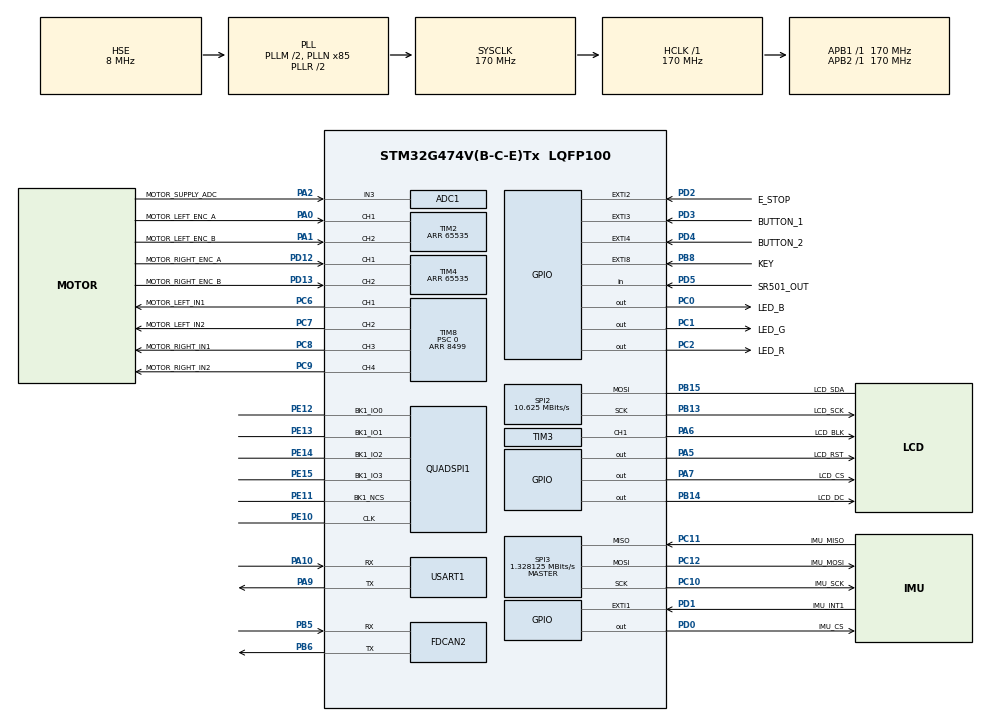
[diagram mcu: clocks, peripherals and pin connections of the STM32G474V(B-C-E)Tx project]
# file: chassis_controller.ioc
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ADC1.Channel-0\#ChannelRegularConversion=ADC_CHANNEL_3
ADC1.Channel-IN3=ADC_CHANNEL_3
ADC1.ClockPrescaler=ADC_CLOCK_SYNC_PCLK_DIV4
ADC1.ContinuousConvMode=DISABLE
ADC1.DMAContinuousRequests=DISABLE
ADC1.DataAlign=ADC_DATAALIGN_RIGHT
ADC1.DiscontinuousConvMode=DISABLE
ADC1.EOCSelection=ADC_EOC_SINGLE_CONV
ADC1.EnableAnalogWatchDog1=false
ADC1.EnableAnalogWatchDog2=false
ADC1.EnableAnalogWatchDog3=false
ADC1.EnableInjectedConversion=DISABLE
ADC1.EnableRegularConversion=ENABLE
ADC1.ExternalTrigConv=ADC_SOFTWARE_START
ADC1.ExternalTrigConvEdge=ADC_EXTERNALTRIGCONVEDGE_NONE
ADC1.GainCompensation=0
ADC1.LowPowerAutoWait=DISABLE
ADC1.Mode=ADC_MODE_INDEPENDENT
ADC1.NbrOfConversion=1
ADC1.OffsetNumber-0\#ChannelRegularConversion=ADC_OFFSET_NONE
ADC1.Overrun=ADC_OVR_DATA_PRESERVED
ADC1.OversamplingMode=DISABLE
ADC1.Rank-0\#ChannelRegularConversion=1
ADC1.Resolution=ADC_RESOLUTION_12B
ADC1.SamplingTime-0\#ChannelRegularConversion=ADC_SAMPLETIME_47CYCLES_5
ADC1.ScanConvMode=ADC_SCAN_DISABLE
ADC1.master=1
Dma.QUADSPI.3.Direction=DMA_PERIPH_TO_MEMORY
Dma.QUADSPI.3.EventEnable=DISABLE
Dma.QUADSPI.3.Instance=DMA1_Channel4
Dma.QUADSPI.3.MemDataAlignment=DMA_MDATAALIGN_BYTE
Dma.QUADSPI.3.MemInc=DMA_MINC_ENABLE
Dma.QUADSPI.3.Mode=DMA_NORMAL
Dma.QUADSPI.3.PeriphDataAlignment=DMA_PDATAALIGN_BYTE
Dma.QUADSPI.3.PeriphInc=DMA_PINC_DISABLE
Dma.QUADSPI.3.Polarity=HAL_DMAMUX_REQ_GEN_RISING
Dma.QUADSPI.3.Priority=DMA_PRIORITY_MEDIUM
Dma.QUADSPI.3.RequestNumber=1
Dma.QUADSPI.3.SignalID=NONE
Dma.QUADSPI.3.SyncEnable=DISABLE
Dma.QUADSPI.3.SyncPolarity=HAL_DMAMUX_SYNC_NO_EVENT
Dma.QUADSPI.3.SyncRequestNumber=1
Dma.QUADSPI.3.SyncSignalID=NONE
Dma.Request0=USART1_RX
Dma.Request1=USART1_TX
Dma.Request2=SPI2_TX
Dma.Request3=QUADSPI
Dma.Request4=SPI3_RX
Dma.Request5=SPI3_TX
Dma.SPI2_TX.2.Direction=DMA_MEMORY_TO_PERIPH
Dma.SPI2_TX.2.EventEnable=DISABLE
Dma.SPI2_TX.2.Instance=DMA1_Channel3
Dma.SPI2_TX.2.MemDataAlignment=DMA_MDATAALIGN_BYTE
Dma.SPI2_TX.2.MemInc=DMA_MINC_ENABLE
Dma.SPI2_TX.2.Mode=DMA_NORMAL
Dma.SPI2_TX.2.PeriphDataAlignment=DMA_PDATAALIGN_BYTE
Dma.SPI2_TX.2.PeriphInc=DMA_PINC_DISABLE
Dma.SPI2_TX.2.Polarity=HAL_DMAMUX_REQ_GEN_RISING
Dma.SPI2_TX.2.Priority=DMA_PRIORITY_LOW
Dma.SPI2_TX.2.RequestNumber=1
Dma.SPI2_TX.2.SignalID=NONE
Dma.SPI2_TX.2.SyncEnable=DISABLE
Dma.SPI2_TX.2.SyncPolarity=HAL_DMAMUX_SYNC_NO_EVENT
Dma.SPI2_TX.2.SyncRequestNumber=1
Dma.SPI2_TX.2.SyncSignalID=NONE
Dma.SPI3_RX.4.Direction=DMA_PERIPH_TO_MEMORY
Dma.SPI3_RX.4.EventEnable=DISABLE
Dma.SPI3_RX.4.Instance=DMA1_Channel5
Dma.SPI3_RX.4.MemDataAlignment=DMA_MDATAALIGN_BYTE
Dma.SPI3_RX.4.MemInc=DMA_MINC_ENABLE
Dma.SPI3_RX.4.Mode=DMA_NORMAL
Dma.SPI3_RX.4.PeriphDataAlignment=DMA_PDATAALIGN_BYTE
Dma.SPI3_RX.4.PeriphInc=DMA_PINC_DISABLE
Dma.SPI3_RX.4.Polarity=HAL_DMAMUX_REQ_GEN_RISING
Dma.SPI3_RX.4.Priority=DMA_PRIORITY_HIGH
Dma.SPI3_RX.4.RequestNumber=1
Dma.SPI3_RX.4.SignalID=NONE
Dma.SPI3_RX.4.SyncEnable=DISABLE
Dma.SPI3_RX.4.SyncPolarity=HAL_DMAMUX_SYNC_NO_EVENT
Dma.SPI3_RX.4.SyncRequestNumber=1
Dma.SPI3_RX.4.SyncSignalID=NONE
Dma.SPI3_TX.5.Direction=DMA_MEMORY_TO_PERIPH
Dma.SPI3_TX.5.EventEnable=DISABLE
Dma.SPI3_TX.5.Instance=DMA1_Channel6
Dma.SPI3_TX.5.MemDataAlignment=DMA_MDATAALIGN_BYTE
Dma.SPI3_TX.5.MemInc=DMA_MINC_ENABLE
Dma.SPI3_TX.5.Mode=DMA_NORMAL
Dma.SPI3_TX.5.PeriphDataAlignment=DMA_PDATAALIGN_BYTE
Dma.SPI3_TX.5.PeriphInc=DMA_PINC_DISABLE
Dma.SPI3_TX.5.Polarity=HAL_DMAMUX_REQ_GEN_RISING
Dma.SPI3_TX.5.Priority=DMA_PRIORITY_HIGH
Dma.SPI3_TX.5.RequestNumber=1
Dma.SPI3_TX.5.SignalID=NONE
Dma.SPI3_TX.5.SyncEnable=DISABLE
Dma.SPI3_TX.5.SyncPolarity=HAL_DMAMUX_SYNC_NO_EVENT
Dma.SPI3_TX.5.SyncRequestNumber=1
Dma.SPI3_TX.5.SyncSignalID=NONE
Dma.USART1_RX.0.Direction=DMA_PERIPH_TO_MEMORY
Dma.USART1_RX.0.EventEnable=DISABLE
Dma.USART1_RX.0.Instance=DMA1_Channel1
Dma.USART1_RX.0.MemDataAlignment=DMA_MDATAALIGN_BYTE
Dma.USART1_RX.0.MemInc=DMA_MINC_ENABLE
Dma.USART1_RX.0.Mode=DMA_CIRCULAR
Dma.USART1_RX.0.PeriphDataAlignment=DMA_PDATAALIGN_BYTE
Dma.USART1_RX.0.PeriphInc=DMA_PINC_DISABLE
Dma.USART1_RX.0.Polarity=HAL_DMAMUX_REQ_GEN_RISING
Dma.USART1_RX.0.Priority=DMA_PRIORITY_HIGH
Dma.USART1_RX.0.RequestNumber=1
Dma.USART1_RX.0.SignalID=NONE
Dma.USART1_RX.0.SyncEnable=DISABLE
Dma.USART1_RX.0.SyncPolarity=HAL_DMAMUX_SYNC_NO_EVENT
Dma.USART1_RX.0.SyncRequestNumber=1
Dma.USART1_RX.0.SyncSignalID=NONE
Dma.USART1_TX.1.Direction=DMA_MEMORY_TO_PERIPH
Dma.USART1_TX.1.EventEnable=DISABLE
Dma.USART1_TX.1.Instance=DMA1_Channel2
Dma.USART1_TX.1.MemDataAlignment=DMA_MDATAALIGN_BYTE
Dma.USART1_TX.1.MemInc=DMA_MINC_ENABLE
Dma.USART1_TX.1.Mode=DMA_NORMAL
Dma.USART1_TX.1.PeriphDataAlignment=DMA_PDATAALIGN_BYTE
Dma.USART1_TX.1.PeriphInc=DMA_PINC_DISABLE
Dma.USART1_TX.1.Polarity=HAL_DMAMUX_REQ_GEN_RISING
Dma.USART1_TX.1.Priority=DMA_PRIORITY_MEDIUM
Dma.USART1_TX.1.RequestNumber=1
Dma.USART1_TX.1.SignalID=NONE
Dma.USART1_TX.1.SyncEnable=DISABLE
Dma.USART1_TX.1.SyncPolarity=HAL_DMAMUX_SYNC_NO_EVENT
Dma.USART1_TX.1.SyncRequestNumber=1
Dma.USART1_TX.1.SyncSignalID=NONE
FDCAN2.CalculateBaudRateNominal=500000
FDCAN2.CalculateTimeBitNominal=2000
FDCAN2.CalculateTimeQuantumNominal=100.0
FDCAN2.DataPrescaler=5
FDCAN2.DataSyncJumpWidth=3
FDCAN2.DataTimeSeg1=13
FDCAN2.DataTimeSeg2=3
FDCAN2.ExtFiltersNbr=0
FDCAN2.FrameFormat=FDCAN_FRAME_FD_BRS
FDCAN2.Mode=FDCAN_MODE_NORMAL
FDCAN2.NominalPrescaler=17
FDCAN2.NominalSyncJumpWidth=4
FDCAN2.NominalTimeSeg1=15
FDCAN2.NominalTimeSeg2=4
FDCAN2.StdFiltersNbr=3
FREERTOS.Tasks01=defaultTask,24,1024,StartDefaultTask,Default,NULL,Static,defaultTaskBuffer,defaultTaskControlBlock
FREERTOS.configCHECK_FOR_STACK_OVERFLOW=2
FREERTOS.configMINIMAL_STACK_SIZE=128
FREERTOS.configUSE_MALLOC_FAILED_HOOK=1
FREERTOS.configUSE_NEWLIB_REENTRANT=1
IWDG.Prescaler=IWDG_PRESCALER_128
IWDG.Reload=2499
IWDG.Window=4095
Mcu.Family=STM32G4
Mcu.Name=STM32G474V(B-C-E)Tx
Mcu.Package=LQFP100
NVIC.DMA1_Channel1_IRQn=true\:5\:0\:false\:false\:true\:true\:true\:true\:true
NVIC.DMA1_Channel2_IRQn=true\:5\:0\:false\:false\:true\:true\:true\:true\:true
NVIC.DMA1_Channel3_IRQn=true\:5\:0\:false\:false\:true\:true\:true\:true\:true
NVIC.DMA1_Channel4_IRQn=true\:5\:0\:false\:false\:true\:true\:true\:true\:true
NVIC.DMA1_Channel5_IRQn=true\:5\:0\:false\:false\:true\:true\:true\:true\:true
NVIC.DMA1_Channel6_IRQn=true\:5\:0\:false\:false\:true\:true\:true\:true\:true
NVIC.EXTI1_IRQn=true\:5\:0\:false\:false\:true\:true\:true\:true\:true
NVIC.EXTI2_IRQn=true\:5\:0\:false\:false\:true\:true\:true\:true\:true
NVIC.EXTI3_IRQn=true\:5\:0\:false\:false\:true\:true\:true\:true\:true
NVIC.EXTI4_IRQn=true\:5\:0\:false\:false\:true\:true\:true\:true\:true
NVIC.EXTI9_5_IRQn=true\:5\:0\:false\:false\:true\:true\:true\:true\:true
NVIC.FDCAN2_IT0_IRQn=true\:5\:0\:false\:false\:true\:true\:true\:true\:true
NVIC.PriorityGroup=NVIC_PRIORITYGROUP_4
NVIC.QUADSPI_IRQn=true\:5\:0\:false\:false\:true\:true\:true\:true\:true
NVIC.TIM6_DAC_IRQn=true\:5\:0\:false\:false\:true\:true\:true\:true\:true
NVIC.TIM7_DAC_IRQn=true\:15\:0\:false\:false\:true\:false\:false\:true\:true
NVIC.TimeBase=TIM7_DAC_IRQn
NVIC.TimeBaseIP=TIM7
NVIC.USART1_IRQn=true\:5\:0\:false\:false\:true\:true\:true\:true\:true
PA0.GPIO_Label=MOTOR_LEFT_ENC_A
PA0.GPIO_Speed=GPIO_SPEED_FREQ_HIGH
PA0.Signal=S_TIM2_CH1
PA1.GPIO_Label=MOTOR_LEFT_ENC_B
PA1.GPIO_Speed=GPIO_SPEED_FREQ_HIGH
PA1.Signal=S_TIM2_CH2
PA10.Mode=Asynchronous
PA10.Signal=USART1_RX
PA13.Mode=Serial_Wire
PA13.Signal=SYS_JTMS-SWDIO
PA14.Mode=Serial_Wire
PA14.Signal=SYS_JTCK-SWCLK
PA2.GPIO_Label=MOTOR_SUPPLY_ADC
PA2.Mode=IN3-Single-Ended
PA2.Signal=ADC1_IN3
PA5.GPIO_Label=LCD_RST
PA5.PinState=GPIO_PIN_SET
PA5.Signal=GPIO_Output
PA6.GPIO_Label=LCD_BLK
PA6.Signal=S_TIM3_CH1
PA7.GPIO_Label=LCD_CS
PA7.PinState=GPIO_PIN_SET
PA7.Signal=GPIO_Output
PA9.Mode=Asynchronous
PA9.Signal=USART1_TX
PB13.GPIO_Label=LCD_SCK
PB13.GPIO_PuPd=GPIO_PULLUP
PB13.GPIO_Speed=GPIO_SPEED_FREQ_HIGH
PB13.Mode=Simplex_Bidirectional_Master
PB13.Signal=SPI2_SCK
PB14.GPIO_Label=LCD_DC
PB14.PinState=GPIO_PIN_SET
PB14.Signal=GPIO_Output
PB15.GPIO_Label=LCD_SDA
PB15.GPIO_PuPd=GPIO_PULLUP
PB15.GPIO_Speed=GPIO_SPEED_FREQ_HIGH
PB15.Mode=Simplex_Bidirectional_Master
PB15.Signal=SPI2_MOSI
PB5.Mode=FDCAN_Activate
PB5.Signal=FDCAN2_RX
PB6.Mode=FDCAN_Activate
PB6.Signal=FDCAN2_TX
PB8-BOOT0.GPIO_Label=KEY
PB8-BOOT0.Signal=GPXTI8
PC0.GPIO_Label=LED_B
PC0.PinState=GPIO_PIN_SET
PC0.Signal=GPIO_Output
PC1.GPIO_Label=LED_G
PC1.PinState=GPIO_PIN_SET
PC1.Signal=GPIO_Output
PC10.GPIO_Label=IMU_SCK
PC10.GPIO_PuPd=GPIO_NOPULL
PC10.GPIO_Speed=GPIO_SPEED_FREQ_HIGH
PC10.Mode=Full_Duplex_Master
PC10.Signal=SPI3_SCK
PC11.GPIO_Label=IMU_MISO
PC11.GPIO_PuPd=GPIO_NOPULL
PC11.GPIO_Speed=GPIO_SPEED_FREQ_HIGH
PC11.Mode=Full_Duplex_Master
PC11.Signal=SPI3_MISO
PC12.GPIO_Label=IMU_MOSI
PC12.GPIO_PuPd=GPIO_NOPULL
PC12.GPIO_Speed=GPIO_SPEED_FREQ_HIGH
PC12.Mode=Full_Duplex_Master
PC12.Signal=SPI3_MOSI
PC14-OSC32_IN.Mode=LSE-External-Oscillator
PC14-OSC32_IN.Signal=RCC_OSC32_IN
PC15-OSC32_OUT.Mode=LSE-External-Oscillator
PC15-OSC32_OUT.Signal=RCC_OSC32_OUT
PC2.GPIO_Label=LED_R
PC2.PinState=GPIO_PIN_SET
PC2.Signal=GPIO_Output
PC6.GPIO_Label=MOTOR_LEFT_IN1
PC6.GPIO_PuPd=GPIO_PULLDOWN
PC6.GPIO_Speed=GPIO_SPEED_FREQ_HIGH
PC6.Signal=S_TIM8_CH1
PC7.GPIO_Label=MOTOR_LEFT_IN2
PC7.GPIO_PuPd=GPIO_PULLDOWN
PC7.GPIO_Speed=GPIO_SPEED_FREQ_HIGH
PC7.Signal=S_TIM8_CH2
PC8.GPIO_Label=MOTOR_RIGHT_IN1
PC8.GPIO_PuPd=GPIO_PULLDOWN
PC8.GPIO_Speed=GPIO_SPEED_FREQ_HIGH
PC8.Signal=S_TIM8_CH3
PC9.GPIO_Label=MOTOR_RIGHT_IN2
PC9.GPIO_PuPd=GPIO_PULLDOWN
PC9.GPIO_Speed=GPIO_SPEED_FREQ_HIGH
PC9.Signal=S_TIM8_CH4
PD0.GPIO_Label=IMU_CS
PD0.PinState=GPIO_PIN_SET
PD0.Signal=GPIO_Output
PD1.GPIO_Label=IMU_INT1
PD1.GPIO_ModeDefaultEXTI=GPIO_MODE_IT_RISING
PD1.GPIO_PuPd=GPIO_NOPULL
PD1.Signal=GPXTI1
PD12.GPIO_Label=MOTOR_RIGHT_ENC_A
PD12.GPIO_Speed=GPIO_SPEED_FREQ_HIGH
PD12.Signal=S_TIM4_CH1
PD13.GPIO_Label=MOTOR_RIGHT_ENC_B
PD13.GPIO_Speed=GPIO_SPEED_FREQ_HIGH
PD13.Signal=S_TIM4_CH2
PD2.GPIO_Label=E_STOP
PD2.GPIO_ModeDefaultEXTI=GPIO_MODE_IT_FALLING
PD2.GPIO_PuPd=GPIO_PULLUP
PD2.Signal=GPXTI2
PD3.GPIO_Label=BUTTON_1
PD3.GPIO_ModeDefaultEXTI=GPIO_MODE_IT_FALLING
PD3.GPIO_PuPd=GPIO_PULLUP
PD3.Signal=GPXTI3
PD4.GPIO_Label=BUTTON_2
PD4.GPIO_ModeDefaultEXTI=GPIO_MODE_IT_FALLING
PD4.GPIO_PuPd=GPIO_PULLUP
PD4.Signal=GPXTI4
PD5.GPIO_Label=SR501_OUT
PD5.GPIO_PuPd=GPIO_PULLDOWN
PD5.Signal=GPIO_Input
PE10.GPIO_PuPd=GPIO_NOPULL
PE10.GPIO_Speed=GPIO_SPEED_FREQ_VERY_HIGH
PE10.Mode=Single Bank 1
PE10.Signal=QUADSPI1_CLK
PE11.GPIO_PuPd=GPIO_NOPULL
PE11.GPIO_Speed=GPIO_SPEED_FREQ_VERY_HIGH
PE11.Mode=Single Bank 1
PE11.Signal=QUADSPI1_BK1_NCS
PE12.GPIO_PuPd=GPIO_NOPULL
PE12.GPIO_Speed=GPIO_SPEED_FREQ_VERY_HIGH
PE12.Mode=Single Bank 1
PE12.Signal=QUADSPI1_BK1_IO0
PE13.GPIO_PuPd=GPIO_NOPULL
PE13.GPIO_Speed=GPIO_SPEED_FREQ_VERY_HIGH
PE13.Mode=Single Bank 1
PE13.Signal=QUADSPI1_BK1_IO1
PE14.GPIO_PuPd=GPIO_NOPULL
PE14.GPIO_Speed=GPIO_SPEED_FREQ_VERY_HIGH
PE14.Mode=Single Bank 1
PE14.Signal=QUADSPI1_BK1_IO2
PE15.GPIO_PuPd=GPIO_NOPULL
PE15.GPIO_Speed=GPIO_SPEED_FREQ_VERY_HIGH
PE15.Mode=Single Bank 1
PE15.Signal=QUADSPI1_BK1_IO3
PF0-OSC_IN.Mode=HSE-External-Oscillator
PF0-OSC_IN.Signal=RCC_OSC_IN
PF1-OSC_OUT.Mode=HSE-External-Oscillator
PF1-OSC_OUT.Signal=RCC_OSC_OUT
ProjectManager.HeapSize=0x200
ProjectManager.StackSize=0x400
ProjectManager.TargetToolchain=STM32CubeIDE
QUADSPI1.ChipSelectHighTime=QSPI_CS_HIGH_TIME_3_CYCLE
QUADSPI1.ClockMode=QSPI_CLOCK_MODE_0
QUADSPI1.ClockPrescaler=1
QUADSPI1.DualFlash=QSPI_DUALFLASH_DISABLE
QUADSPI1.FifoThreshold=4
QUADSPI1.FlashID=QSPI_FLASH_ID_1
QUADSPI1.FlashSize=22
QUADSPI1.SampleShifting=QSPI_SAMPLE_SHIFTING_NONE
RCC.ADC12Freq_Value=170000000
RCC.ADC345Freq_Value=170000000
RCC.AHBFreq_Value=170000000
RCC.APB1Freq_Value=170000000
RCC.APB1TimFreq_Value=170000000
RCC.APB2Freq_Value=170000000
RCC.APB2TimFreq_Value=170000000
RCC.CortexFreq_Value=170000000
RCC.EXTERNAL_CLOCK_VALUE=12288000
RCC.HCLKFreq_Value=170000000
RCC.HSE_VALUE=8000000
RCC.HSI48_VALUE=48000000
RCC.HSI_VALUE=16000000
RCC.PLLM=RCC_PLLM_DIV2
RCC.PLLN=85
RCC.PLLSourceVirtual=RCC_PLLSOURCE_HSE
RCC.RTCClockSelection=RCC_RTCCLKSOURCE_LSE
RCC.SYSCLKFreq_VALUE=170000000
RCC.SYSCLKSource=RCC_SYSCLKSOURCE_PLLCLK
RCC.USBFreq_Value=170000000
RCC.VCOOutputFreq_Value=340000000
RTC.AsynchPrediv=127
RTC.Date=1
RTC.DayLightSaving=RTC_DAYLIGHTSAVING_NONE
RTC.Format=RTC_FORMAT_BIN
RTC.HourFormat=RTC_HOURFORMAT_24
RTC.Hours=0
RTC.Minutes=0
RTC.Month=RTC_MONTH_JANUARY
RTC.Seconds=0
RTC.StoreOperation=RTC_STOREOPERATION_RESET
RTC.SynchPrediv=255
RTC.WeekDay=RTC_WEEKDAY_THURSDAY
RTC.Year=26
SH.S_TIM2_CH1.0=TIM2_CH1,Encoder_Interface
SH.S_TIM2_CH2.0=TIM2_CH2,Encoder_Interface
SH.S_TIM3_CH1.0=TIM3_CH1,PWM Generation1 CH1
SH.S_TIM4_CH1.0=TIM4_CH1,Encoder_Interface
SH.S_TIM4_CH2.0=TIM4_CH2,Encoder_Interface
SH.S_TIM8_CH1.0=TIM8_CH1,PWM Generation1 CH1
SH.S_TIM8_CH2.0=TIM8_CH2,PWM Generation2 CH2
SH.S_TIM8_CH3.0=TIM8_CH3,PWM Generation3 CH3
SH.S_TIM8_CH4.0=TIM8_CH4,PWM Generation4 CH4
SPI2.BaudRatePrescaler=SPI_BAUDRATEPRESCALER_16
SPI2.CLKPhase=SPI_PHASE_2EDGE
SPI2.CLKPolarity=SPI_POLARITY_HIGH
SPI2.CRCCalculation=SPI_CRCCALCULATION_DISABLE
SPI2.CalculateBaudRate=10.625 MBits/s
SPI2.DataSize=SPI_DATASIZE_8BIT
SPI2.Direction=SPI_DIRECTION_1LINE
SPI2.FirstBit=SPI_FIRSTBIT_MSB
SPI2.Mode=SPI_MODE_MASTER
SPI2.NSS=SPI_NSS_SOFT
SPI2.TIMode=SPI_TIMODE_DISABLE
SPI2.VirtualType=VM_MASTER
SPI3.BaudRatePrescaler=SPI_BAUDRATEPRESCALER_128
SPI3.CLKPhase=SPI_PHASE_1EDGE
SPI3.CLKPolarity=SPI_POLARITY_LOW
SPI3.CRCCalculation=SPI_CRCCALCULATION_DISABLE
SPI3.CalculateBaudRate=1.328125 MBits/s
SPI3.DataSize=SPI_DATASIZE_8BIT
SPI3.Direction=SPI_DIRECTION_2LINES
SPI3.FirstBit=SPI_FIRSTBIT_MSB
SPI3.Mode=SPI_MODE_MASTER
SPI3.NSS=SPI_NSS_SOFT
SPI3.TIMode=SPI_TIMODE_DISABLE
SPI3.VirtualType=VM_MASTER
TIM2.EncoderMode=TIM_ENCODERMODE_TI12
TIM2.IC1Filter=8
TIM2.IC1Polarity=TIM_ICPOLARITY_RISING
TIM2.IC2Filter=8
TIM2.IC2Polarity=TIM_ICPOLARITY_RISING
TIM2.PeriodNoDither=65535
TIM3.Channel-PWM\ Generation1\ CH1=TIM_CHANNEL_1
TIM3.PeriodNoDither=49
TIM3.Prescaler=169
TIM4.EncoderMode=TIM_ENCODERMODE_TI12
TIM4.IC1Filter=8
TIM4.IC1Polarity=TIM_ICPOLARITY_RISING
TIM4.IC2Filter=8
TIM4.IC2Polarity=TIM_ICPOLARITY_RISING
TIM4.PeriodNoDither=65535
TIM6.AutoReloadPreload=TIM_AUTORELOAD_PRELOAD_DISABLE
TIM6.CounterMode=TIM_COUNTERMODE_UP
TIM6.Dithering=Disable
TIM6.PeriodNoDither=999
TIM6.Prescaler=169
TIM6.TIM_MasterOutputTrigger=TIM_TRGO_RESET
TIM8.AutoReloadPreload=TIM_AUTORELOAD_PRELOAD_ENABLE
TIM8.Channel-PWM\ Generation1\ CH1=TIM_CHANNEL_1
TIM8.Channel-PWM\ Generation2\ CH2=TIM_CHANNEL_2
TIM8.Channel-PWM\ Generation3\ CH3=TIM_CHANNEL_3
TIM8.Channel-PWM\ Generation4\ CH4=TIM_CHANNEL_4
TIM8.PeriodNoDither=8499
TIM8.Prescaler=0
USART1.VirtualMode-Asynchronous=VM_ASYNC
VP_FREERTOS_VS_CMSIS_V2.Mode=CMSIS_V2
VP_IWDG_VS_IWDG.Mode=IWDG_Activate
VP_RTC_VS_RTC_Activate.Mode=RTC_Enabled
VP_RTC_VS_RTC_Calendar.Mode=RTC_Calendar
VP_SYS_VS_DBSignals.Mode=DisableDeadBatterySignals
VP_SYS_VS_tim7.Mode=TIM7
VP_TIM3_VS_ClockSourceINT.Mode=Internal
VP_TIM6_VS_ClockSourceINT.Mode=Enable_Timer
board=custom

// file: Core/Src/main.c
/* USER CODE BEGIN Header */
/**
  ******************************************************************************
  * @file           : main.c
  * @brief          : Main program body
  ******************************************************************************
  * @attention
  *
  * Copyright (c) 2026 STMicroelectronics.
  * All rights reserved.
  *
  * This software is licensed under terms that can be found in the LICENSE file
  * in the root directory of this software component.
  * If no LICENSE file comes with this software, it is provided AS-IS.
  *
  ******************************************************************************
  */
/* USER CODE END Header */
#include "main.h"
#include "cmsis_os.h"
#include "adc.h"
#include "dma.h"
#include "fdcan.h"
#include "iwdg.h"
#include "quadspi.h"
#include "rtc.h"
#include "spi.h"
#include "tim.h"
#include "usart.h"
#include "gpio.h"

/* USER CODE BEGIN Includes */
#include "app/chassis_app.h"
#include "init.h"
#include "kernel/freertos/rtos_app.h"
/* USER CODE END Includes */

void SystemClock_Config(void);
void MX_FREERTOS_Init(void);

int main(void)
{

  /* MCU Configuration--------------------------------------------------------*/

  /* Reset of all peripherals, Initializes the Flash interface and the Systick. */
  HAL_Init();

  /* USER CODE BEGIN Init */
#if defined(APP_DEBUG_IWDG_FREEZE)
  __HAL_DBGMCU_FREEZE_IWDG();
#endif
  /* USER CODE END Init */

  /* Configure the system clock */
  SystemClock_Config();

  /* USER CODE BEGIN SysInit */
  if (SystemInit_RunLevel(INIT_LEVEL_EARLY) < 0)
  {
    Error_Handler();
  }

  /* USER CODE END SysInit */

  /* Initialize all configured peripherals */
  MX_GPIO_Init();
  MX_DMA_Init();
  MX_ADC1_Init();
  MX_USART1_UART_Init();
  MX_FDCAN2_Init();
  MX_QUADSPI1_Init();
  MX_SPI2_Init();
  MX_SPI3_Init();
  MX_RTC_Init();
  MX_TIM3_Init();
  MX_TIM2_Init();
  MX_TIM4_Init();
  MX_TIM8_Init();
  MX_TIM6_Init();
  MX_IWDG_Init();
  /* USER CODE BEGIN 2 */
  if (SystemInit_RunLevel(INIT_LEVEL_PRE_KERNEL_1) < 0 ||
      SystemInit_RunLevel(INIT_LEVEL_PRE_KERNEL_2) < 0)
  {
    Error_Handler();
  }
  if (!AppWatchdog_ConfigureNormal()) {
    Error_Handler();
  }
  /* USER CODE END 2 */

  /* Init scheduler */
  osKernelInitialize();  /* Call init function for freertos objects (in cmsis_os2.c) */
  MX_FREERTOS_Init();

  /* Start scheduler */
  osKernelStart();

  /* We should never get here as control is now taken by the scheduler */

  /* Infinite loop */
  while (1)
  {

  }
}

void SystemClock_Config(void)
{
  RCC_OscInitTypeDef RCC_OscInitStruct = {0};
  RCC_ClkInitTypeDef RCC_ClkInitStruct = {0};

  /** Configure the main internal regulator output voltage
  */
  HAL_PWREx_ControlVoltageScaling(PWR_REGULATOR_VOLTAGE_SCALE1_BOOST);

  /** Configure LSE Drive Capability
  */
  HAL_PWR_EnableBkUpAccess();
  __HAL_RCC_LSEDRIVE_CONFIG(RCC_LSEDRIVE_LOW);

  /** Initializes the RCC Oscillators according to the specified parameters
  * in the RCC_OscInitTypeDef structure.
  */
  RCC_OscInitStruct.OscillatorType = RCC_OSCILLATORTYPE_LSI|RCC_OSCILLATORTYPE_HSE
                              |RCC_OSCILLATORTYPE_LSE;
  RCC_OscInitStruct.HSEState = RCC_HSE_ON;
  RCC_OscInitStruct.LSEState = RCC_LSE_ON;
  RCC_OscInitStruct.LSIState = RCC_LSI_ON;
  RCC_OscInitStruct.PLL.PLLState = RCC_PLL_ON;
  RCC_OscInitStruct.PLL.PLLSource = RCC_PLLSOURCE_HSE;
  RCC_OscInitStruct.PLL.PLLM = RCC_PLLM_DIV2;
  RCC_OscInitStruct.PLL.PLLN = 85;
  RCC_OscInitStruct.PLL.PLLP = RCC_PLLP_DIV2;
  RCC_OscInitStruct.PLL.PLLQ = RCC_PLLQ_DIV2;
  RCC_OscInitStruct.PLL.PLLR = RCC_PLLR_DIV2;
  if (HAL_RCC_OscConfig(&RCC_OscInitStruct) != HAL_OK)
  {
    Error_Handler();
  }

  /** Initializes the CPU, AHB and APB buses clocks
  */
  RCC_ClkInitStruct.ClockType = RCC_CLOCKTYPE_HCLK|RCC_CLOCKTYPE_SYSCLK
                              |RCC_CLOCKTYPE_PCLK1|RCC_CLOCKTYPE_PCLK2;
  RCC_ClkInitStruct.SYSCLKSource = RCC_SYSCLKSOURCE_PLLCLK;
  RCC_ClkInitStruct.AHBCLKDivider = RCC_SYSCLK_DIV1;
  RCC_ClkInitStruct.APB1CLKDivider = RCC_HCLK_DIV1;
  RCC_ClkInitStruct.APB2CLKDivider = RCC_HCLK_DIV1;

  if (HAL_RCC_ClockConfig(&RCC_ClkInitStruct, FLASH_LATENCY_4) != HAL_OK)
  {
    Error_Handler();
  }
}

void HAL_TIM_PeriodElapsedCallback(TIM_HandleTypeDef *htim)
{
  if (htim->Instance == TIM7)
  {
    HAL_IncTick();
  }
  /* USER CODE BEGIN Callback 1 */
  if (htim->Instance == TIM6)
  {
    RtosApp_NotifyControlTaskFromIsr();
  }
  /* USER CODE END Callback 1 */
}

void Error_Handler(void)
{
  /* USER CODE BEGIN Error_Handler_Debug */
  ChassisApp_FatalError();
  __disable_irq();
  while (1)
  {
  }
  /* USER CODE END Error_Handler_Debug */
}

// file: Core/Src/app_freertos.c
/* USER CODE BEGIN Header */
/**
  ******************************************************************************
  * File Name          : app_freertos.c
  * Description        : Code for freertos applications
  ******************************************************************************
  * @attention
  *
  * Copyright (c) 2026 STMicroelectronics.
  * All rights reserved.
  *
  * This software is licensed under terms that can be found in the LICENSE file
  * in the root directory of this software component.
  * If no LICENSE file comes with this software, it is provided AS-IS.
  *
  ******************************************************************************
  */
/* USER CODE END Header */

#include "FreeRTOS.h"
#include "task.h"
#include "main.h"
#include "cmsis_os.h"

/* USER CODE BEGIN Includes */
#include "app/chassis_app.h"
#include "init.h"
#include "kernel/freertos/rtos_app.h"
#include "tim.h"
/* USER CODE END Includes */

typedef StaticTask_t osStaticThreadDef_t;

/* Definitions for defaultTask */
osThreadId_t defaultTaskHandle;
uint32_t defaultTaskBuffer[ 1024 ];
osStaticThreadDef_t defaultTaskControlBlock;
const osThreadAttr_t defaultTask_attributes = {
  .name = "defaultTask",
  .stack_mem = &defaultTaskBuffer[0],
  .stack_size = sizeof(defaultTaskBuffer),
  .cb_mem = &defaultTaskControlBlock,
  .cb_size = sizeof(defaultTaskControlBlock),
  .priority = (osPriority_t) osPriorityNormal,
};

/* USER CODE BEGIN FunctionPrototypes */

static bool StartControlClock(void);

/* USER CODE END FunctionPrototypes */

void StartDefaultTask(void *argument);

void MX_FREERTOS_Init(void); /* (MISRA C 2004 rule 8.1) */

/* Hook prototypes */
void vApplicationStackOverflowHook(xTaskHandle xTask, signed char *pcTaskName);
void vApplicationMallocFailedHook(void);

/* USER CODE BEGIN 4 */
static bool StartControlClock(void)
{
  return HAL_TIM_Base_Start_IT(&htim6) == HAL_OK;
}

void vApplicationStackOverflowHook(xTaskHandle xTask, signed char *pcTaskName)
{
  (void)xTask;
  (void)pcTaskName;
  ChassisApp_FatalError();
  taskDISABLE_INTERRUPTS();
  for (;;) {
  }
}
/* USER CODE END 4 */

/* USER CODE BEGIN 5 */
void vApplicationMallocFailedHook(void)
{
  ChassisApp_FatalError();
  taskDISABLE_INTERRUPTS();
  for (;;) {
  }
}
/* USER CODE END 5 */

void MX_FREERTOS_Init(void) {
  /* USER CODE BEGIN Init */
  if (SystemInit_RunLevel(INIT_LEVEL_POST_KERNEL) < 0) {
    Error_Handler();
  }
  /* USER CODE END Init */

  /* Create the thread(s) */
  /* creation of defaultTask */
  defaultTaskHandle = osThreadNew(StartDefaultTask, NULL, &defaultTask_attributes);

  /* USER CODE BEGIN RTOS_THREADS */
  if (defaultTaskHandle == NULL ||
      osThreadSetPriority(defaultTaskHandle,
                          (osPriority_t)CONFIG_SERVICE_TASK_PRIORITY) != osOK) {
    Error_Handler();
  }
  const RtosAppCallbacks app_callbacks = {
    .start_control_clock = StartControlClock,
    .run_service_cycle = ChassisApp_RunServiceCycle,
    .run_control_cycle = ChassisApp_RunControlCycle,
    .run_diagnostics_cycle = ChassisApp_RunDiagnosticsCycle,
    .run_display_cycle = ChassisApp_RunDisplayCycle,
    .handle_fatal_error = ChassisApp_FatalError,
  };
  if (!RtosApp_CreateTasks(&app_callbacks)) {
    Error_Handler();
  }
  /* USER CODE END RTOS_THREADS */

  /* USER CODE BEGIN RTOS_EVENTS */
  if (SystemInit_RunLevel(INIT_LEVEL_APPLICATION) < 0) {
    Error_Handler();
  }
  /* add events, ... */
  /* USER CODE END RTOS_EVENTS */

}

void StartDefaultTask(void *argument)
{
  /* USER CODE BEGIN StartDefaultTask */
  RtosApp_ServiceTaskMain(argument);
  /* USER CODE END StartDefaultTask */
}
